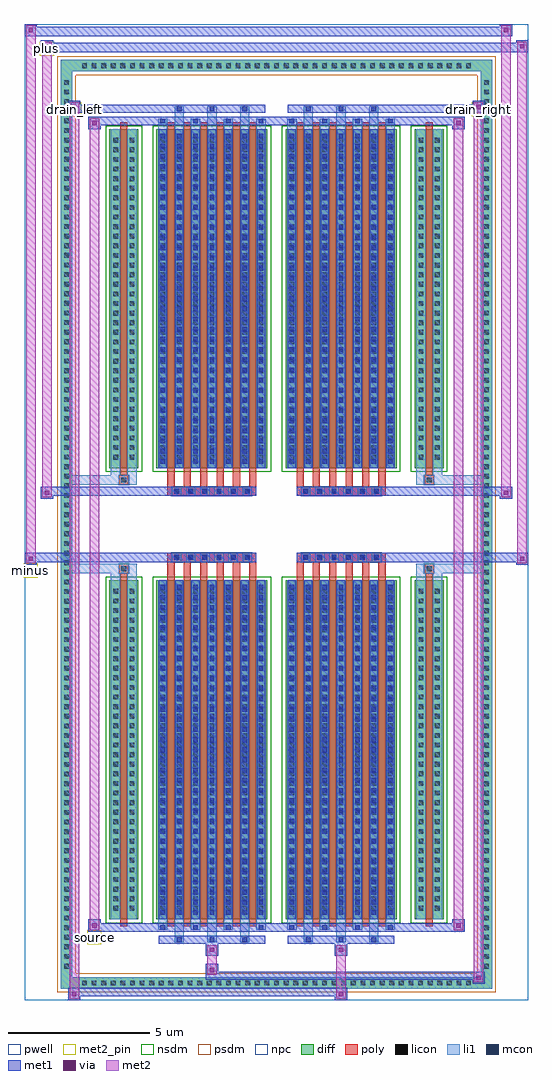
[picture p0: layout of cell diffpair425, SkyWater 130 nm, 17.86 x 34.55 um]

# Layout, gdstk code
import gdstk
lib = gdstk.Library(unit=1e-6, precision=5e-09)
def R(c, l, rs):  # rectangles x0, y0, x1, y1
    for r in rs: c.add(gdstk.rectangle(r[:2], r[2:], *l))
def A(c, l, x, y, w, h, nx, ny, dx, dy):  # array of equal rectangles
    R(c, l, [(x+i*dx, y+j*dy, x+i*dx+w, y+j*dy+h) for i in range(nx) for j in range(ny)])
def P(c, l, *ps):  # polygons
    for p in ps: c.add(gdstk.Polygon(p, *l))
pwell = (64, 44)
diff = (65, 20)
poly = (66, 20)
licon = (66, 44)
li1 = (67, 20)
mcon = (67, 44)
met1 = (68, 20)
via = (68, 44)
met2_pin = (69, 16)
met2 = (69, 20)
nsdm = (93, 44)
psdm = (94, 20)
npc = (95, 20)

diffpair425 = lib.new_cell('diffpair425')
R(diffpair425, pwell, [(-8.91,-16.84,8.91,17.71), (-6.23,-15.03,-0.01,-0.805), (0.01,-15.03,6.23,-0.805), (-6.23,0.805,-0.01,15.03), (0.01,0.805,6.23,15.03)])
A(diffpair425, diff, -7.005, -16.44, 0.41, 0.41, 41, 2, 0.34, 32.47)
A(diffpair425, diff, -7.64, -15.845, 0.41, 0.41, 1, 93, 0, 0.34)
A(diffpair425, diff, 7.23, -15.845, 0.41, 0.41, 1, 93, 0, 0.34)
R(diffpair425, diff, [(-7.005,-16.44,7.005,-16.03), (-7.64,-15.845,-7.23,15.845), (7.23,-15.845,7.64,15.845), (-5.92,-13.985,-4.89,-1.985), (-4.25,-13.985,-0.32,-1.985), (0.32,-13.985,4.25,-1.985), (4.89,-13.985,5.92,-1.985), (-5.92,1.985,-4.89,13.985), (-4.25,1.985,-0.32,13.985), (0.32,1.985,4.25,13.985), (4.89,1.985,5.92,13.985), (-7.005,16.03,7.005,16.44)])
P(diffpair425, diff, [(7.64,16.44),(-7.64,16.44),(-7.64,-16.03),(-7.23,-16.03),(-7.23,16.03),(7.23,16.03),(7.23,-16.03),(-7.23,-16.03),(-7.64,-16.03),(-7.64,-16.44),(7.64,-16.44)])
A(diffpair425, poly, -3.86, -14.235, 0.25, 12.5, 6, 2, 0.58, 15.97)
A(diffpair425, poly, 0.71, -14.235, 0.25, 12.5, 6, 2, 0.58, 15.97)
A(diffpair425, poly, -3.86, -1.735, 0.25, 0.4, 6, 2, 0.58, 3.07)
A(diffpair425, poly, 0.71, -1.735, 0.25, 0.4, 6, 2, 0.58, 3.07)
A(diffpair425, poly, -3.7, -1.335, 0.33, 0.33, 6, 2, 0.5, 2.34)
A(diffpair425, poly, 0.87, -1.335, 0.33, 0.33, 6, 2, 0.5, 2.34)
R(diffpair425, poly, [(-5.53,-14.235,-5.28,-1.735), (5.28,-14.235,5.53,-1.735), (-5.57,-1.735,-5.24,-1.405), (-5.57,-1.735,-5.24,-1.405), (5.24,-1.735,5.57,-1.405), (5.24,-1.735,5.57,-1.405), (-3.86,-1.335,-0.71,-1.005), (0.71,-1.335,3.86,-1.005), (-3.86,1.005,-0.71,1.335), (0.71,1.005,3.86,1.335), (-5.57,1.405,-5.24,1.735), (-5.57,1.405,-5.24,1.735), (5.24,1.405,5.57,1.735), (5.24,1.405,5.57,1.735), (-5.53,1.735,-5.28,14.235), (5.28,1.735,5.53,14.235)])
A(diffpair425, licon, -6.885, -16.32, 0.17, 0.17, 41, 2, 0.34, 32.47)
A(diffpair425, licon, -7.52, -15.725, 0.17, 0.17, 1, 93, 0, 0.34)
A(diffpair425, licon, 7.35, -15.725, 0.17, 0.17, 1, 93, 0, 0.34)
A(diffpair425, licon, -5.78, -13.68, 0.17, 0.17, 1, 34, 0, 0.34)
A(diffpair425, licon, -5.2, -13.68, 0.17, 0.17, 1, 34, 0, 0.34)
A(diffpair425, licon, -4.11, -13.68, 0.17, 0.17, 7, 34, 0.58, 0.34)
A(diffpair425, licon, 0.46, -13.68, 0.17, 0.17, 7, 34, 0.58, 0.34)
A(diffpair425, licon, 5.03, -13.68, 0.17, 0.17, 1, 34, 0, 0.34)
A(diffpair425, licon, 5.61, -13.68, 0.17, 0.17, 1, 34, 0, 0.34)
A(diffpair425, licon, -3.62, -1.255, 0.17, 0.17, 6, 2, 0.5, 2.34)
A(diffpair425, licon, 0.95, -1.255, 0.17, 0.17, 6, 2, 0.5, 2.34)
A(diffpair425, licon, -5.78, 2.29, 0.17, 0.17, 1, 34, 0, 0.34)
A(diffpair425, licon, -5.2, 2.29, 0.17, 0.17, 1, 34, 0, 0.34)
A(diffpair425, licon, -4.11, 2.29, 0.17, 0.17, 7, 34, 0.58, 0.34)
A(diffpair425, licon, 0.46, 2.29, 0.17, 0.17, 7, 34, 0.58, 0.34)
A(diffpair425, licon, 5.03, 2.29, 0.17, 0.17, 1, 34, 0, 0.34)
A(diffpair425, licon, 5.61, 2.29, 0.17, 0.17, 1, 34, 0, 0.34)
R(diffpair425, licon, [(-5.49,-1.655,-5.32,-1.485), (5.32,-1.655,5.49,-1.485), (-5.49,1.485,-5.32,1.655), (5.32,1.485,5.49,1.655)])
A(diffpair425, li1, -6.965, -16.4, 0.33, 0.33, 41, 2, 0.34, 32.47)
A(diffpair425, li1, -7.6, -15.805, 0.33, 0.33, 1, 93, 0, 0.34)
A(diffpair425, li1, 7.27, -15.805, 0.33, 0.33, 1, 93, 0, 0.34)
A(diffpair425, li1, -3.61, -14.79, 0.33, 0.805, 3, 2, 1.16, 28.775)
A(diffpair425, li1, -3.53, -14.79, 0.17, 0.17, 3, 2, 1.16, 29.41)
A(diffpair425, li1, 0.96, -14.79, 0.33, 0.805, 3, 2, 1.16, 28.775)
A(diffpair425, li1, 1.04, -14.79, 0.17, 0.17, 3, 2, 1.16, 29.41)
A(diffpair425, li1, -4.19, -14.36, 0.33, 0.375, 4, 2, 1.16, 28.345)
A(diffpair425, li1, -4.11, -14.36, 0.17, 0.17, 4, 2, 1.16, 28.55)
A(diffpair425, li1, 0.38, -14.36, 0.33, 0.375, 4, 2, 1.16, 28.345)
A(diffpair425, li1, 0.46, -14.36, 0.17, 0.17, 4, 2, 1.16, 28.55)
A(diffpair425, li1, -4.19, -13.985, 0.33, 12, 7, 2, 0.58, 15.97)
A(diffpair425, li1, 0.38, -13.985, 0.33, 12, 7, 2, 0.58, 15.97)
A(diffpair425, li1, -4.11, -13.83, 0.17, 0.17, 7, 33, 0.58, 0.36)
A(diffpair425, li1, -4.11, -13.83, 0.17, 11.69, 7, 2, 0.58, 15.97)
A(diffpair425, li1, 0.46, -13.83, 0.17, 0.17, 7, 33, 0.58, 0.36)
A(diffpair425, li1, 0.46, -13.83, 0.17, 11.69, 7, 2, 0.58, 15.97)
A(diffpair425, li1, -5.86, -13.76, 0.33, 0.33, 1, 34, 0, 0.34)
A(diffpair425, li1, -5.28, -13.76, 0.33, 0.33, 1, 34, 0, 0.34)
A(diffpair425, li1, -4.19, -13.76, 0.33, 0.33, 7, 34, 0.58, 0.34)
A(diffpair425, li1, 0.38, -13.76, 0.33, 0.33, 7, 34, 0.58, 0.34)
A(diffpair425, li1, 4.95, -13.76, 0.33, 0.33, 1, 34, 0, 0.34)
A(diffpair425, li1, 5.53, -13.76, 0.33, 0.33, 1, 34, 0, 0.34)
A(diffpair425, li1, -3.7, -1.335, 0.33, 0.33, 6, 2, 0.5, 2.34)
A(diffpair425, li1, 0.87, -1.335, 0.33, 0.33, 6, 2, 0.5, 2.34)
A(diffpair425, li1, -4.11, 2.14, 0.17, 0.17, 7, 33, 0.58, 0.36)
A(diffpair425, li1, 0.46, 2.14, 0.17, 0.17, 7, 33, 0.58, 0.36)
A(diffpair425, li1, -5.86, 2.21, 0.33, 0.33, 1, 34, 0, 0.34)
A(diffpair425, li1, -5.28, 2.21, 0.33, 0.33, 1, 34, 0, 0.34)
A(diffpair425, li1, -4.19, 2.21, 0.33, 0.33, 7, 34, 0.58, 0.34)
A(diffpair425, li1, 0.38, 2.21, 0.33, 0.33, 7, 34, 0.58, 0.34)
A(diffpair425, li1, 4.95, 2.21, 0.33, 0.33, 1, 34, 0, 0.34)
A(diffpair425, li1, 5.53, 2.21, 0.33, 0.33, 1, 34, 0, 0.34)
R(diffpair425, li1, [(-7.64,-16.44,-7.23,-16.03), (-7.64,-16.44,-7.23,-16.03), (-7.23,-16.44,7.23,-16.03), (7.23,-16.44,7.64,-16.03), (7.23,-16.44,7.64,-16.03), (-7.64,-16.03,-7.23,16.03), (7.23,-16.03,7.64,16.03), (-5.86,-13.985,-5.53,-1.985), (-5.28,-13.985,-4.95,-1.985), (4.95,-13.985,5.28,-1.985), (5.53,-13.985,5.86,-1.985), (-5.86,-1.985,-5.53,-1.405), (-5.28,-1.985,-4.95,-1.405), (4.95,-1.985,5.28,-1.405), (5.53,-1.985,5.86,-1.405), (-7.64,-1.735,-5.57,-1.405), (-5.86,-1.735,-5.57,-1.405), (-5.57,-1.735,-5.24,-1.405), (-5.24,-1.735,-4.95,-1.405), (4.95,-1.735,5.24,-1.405), (5.24,-1.735,5.57,-1.405), (5.24,-1.735,7.64,-1.405), (5.57,-1.735,5.86,-1.405), (-7.64,1.405,-5.57,1.735), (-5.86,1.405,-5.57,1.735), (-5.86,1.405,-5.53,1.985), (-5.57,1.405,-5.24,1.735), (-5.28,1.405,-4.95,1.985), (-5.24,1.405,-4.95,1.735), (4.95,1.405,5.24,1.735), (4.95,1.405,5.28,1.985), (5.24,1.405,5.57,1.735), (5.24,1.405,7.64,1.735), (5.53,1.405,5.86,1.985), (5.57,1.405,5.86,1.735), (-5.86,1.985,-5.53,13.985), (-5.28,1.985,-4.95,13.985), (4.95,1.985,5.28,13.985), (5.53,1.985,5.86,13.985), (-7.64,16.03,-7.23,16.44), (-7.64,16.03,-7.23,16.44), (-7.23,16.03,7.23,16.44), (7.23,16.03,7.64,16.44), (7.23,16.03,7.64,16.44)])
A(diffpair425, mcon, -3.53, -14.79, 0.17, 0.17, 3, 2, 1.16, 29.41)
A(diffpair425, mcon, 1.04, -14.79, 0.17, 0.17, 3, 2, 1.16, 29.41)
A(diffpair425, mcon, -4.11, -14.36, 0.17, 0.17, 4, 2, 1.16, 28.55)
A(diffpair425, mcon, 0.46, -14.36, 0.17, 0.17, 4, 2, 1.16, 28.55)
A(diffpair425, mcon, -4.11, -13.83, 0.17, 0.17, 7, 33, 0.58, 0.36)
A(diffpair425, mcon, 0.46, -13.83, 0.17, 0.17, 7, 33, 0.58, 0.36)
A(diffpair425, mcon, -3.62, -1.255, 0.17, 0.17, 6, 2, 0.5, 2.34)
A(diffpair425, mcon, 0.95, -1.255, 0.17, 0.17, 6, 2, 0.5, 2.34)
A(diffpair425, mcon, -4.11, 2.14, 0.17, 0.17, 7, 33, 0.58, 0.36)
A(diffpair425, mcon, 0.46, 2.14, 0.17, 0.17, 7, 33, 0.58, 0.36)
A(diffpair425, met1, -3.59, -14.85, 0.29, 0.29, 3, 2, 1.16, 29.41)
A(diffpair425, met1, 0.98, -14.85, 0.29, 0.29, 3, 2, 1.16, 29.41)
A(diffpair425, met1, -4.17, -14.42, 0.29, 0.29, 4, 2, 1.16, 28.55)
A(diffpair425, met1, 0.4, -14.42, 0.29, 0.29, 4, 2, 1.16, 28.55)
A(diffpair425, met1, -4.17, -13.985, 0.29, 12, 7, 2, 0.58, 15.97)
A(diffpair425, met1, 0.4, -13.985, 0.29, 12, 7, 2, 0.58, 15.97)
A(diffpair425, met1, -4.17, -13.89, 0.29, 0.29, 7, 33, 0.58, 0.36)
A(diffpair425, met1, 0.4, -13.89, 0.29, 0.29, 7, 33, 0.58, 0.36)
A(diffpair425, met1, -3.68, -1.315, 0.29, 0.29, 6, 2, 0.5, 2.34)
A(diffpair425, met1, 0.89, -1.315, 0.29, 0.29, 6, 2, 0.5, 2.34)
A(diffpair425, met1, -4.17, 2.08, 0.29, 0.29, 7, 33, 0.58, 0.36)
A(diffpair425, met1, 0.4, 2.08, 0.29, 0.29, 7, 33, 0.58, 0.36)
R(diffpair425, met1, [(-7.37,-16.84,-6.94,-16.41), (2.07,-16.84,2.5,-16.41), (-7.37,-16.7,2.5,-16.41), (6.94,-16.27,7.37,-15.84), (-2.5,-16.13,7.37,-15.84), (-2.5,-15.99,-2.07,-15.56), (-2.5,-15.28,-2.07,-14.85), (2.07,-15.28,2.5,-14.85), (-4.17,-14.85,-0.4,-14.56), (0.4,-14.85,4.17,-14.56), (-6.66,-14.42,-6.23,-13.99), (-6.66,-14.42,-4.17,-14.13), (-4.17,-14.42,-0.4,-14.13), (-0.4,-14.42,0.4,-14.13), (0.4,-14.42,4.17,-14.13), (4.17,-14.42,6.66,-14.13), (6.23,-14.42,6.66,-13.99), (-8.91,-1.435,-8.48,-1.005), (8.48,-1.435,8.91,-1.005), (-8.91,-1.335,-0.71,-1.005), (-3.86,-1.335,-0.71,-1.005), (0.71,-1.335,3.86,-1.005), (0.71,-1.335,8.91,-1.005), (-8.34,0.905,-7.91,1.335), (7.91,0.905,8.34,1.335), (-8.34,1.005,-3.86,1.335), (-3.86,1.005,-0.71,1.335), (0.71,1.005,3.86,1.335), (3.86,1.005,8.34,1.335), (-6.66,13.99,-6.23,14.42), (6.23,13.99,6.66,14.42), (-6.66,14.13,-4.17,14.42), (-4.17,14.13,-0.4,14.42), (-0.4,14.13,0.4,14.42), (0.4,14.13,4.17,14.42), (4.17,14.13,6.66,14.42), (-7.37,14.56,-6.94,14.99), (-7.37,14.56,-4.17,14.85), (-4.17,14.56,-0.4,14.85), (0.4,14.56,4.17,14.85), (4.17,14.56,7.37,14.85), (6.94,14.56,7.37,14.99), (-8.34,16.71,-7.91,17.14), (-8.34,16.71,-6.23,17.04), (-6.23,16.71,6.23,17.04), (6.23,16.71,8.91,17.04), (8.48,16.71,8.91,17.14), (-8.91,17.28,-8.48,17.71), (-8.91,17.28,-6.23,17.61), (-6.23,17.28,6.23,17.61), (6.23,17.28,8.34,17.61), (7.91,17.28,8.34,17.71)])
R(diffpair425, via, [(-7.23,-16.7,-7.08,-16.55), (2.21,-16.7,2.36,-16.55), (7.08,-16.13,7.23,-15.98), (-2.36,-15.85,-2.21,-15.7), (-2.36,-15.14,-2.21,-14.99), (2.21,-15.14,2.36,-14.99), (-6.52,-14.28,-6.37,-14.13), (6.37,-14.28,6.52,-14.13), (-8.77,-1.295,-8.62,-1.145), (8.62,-1.295,8.77,-1.145), (-8.2,1.045,-8.05,1.195), (8.05,1.045,8.2,1.195), (-6.52,14.13,-6.37,14.28), (6.37,14.13,6.52,14.28), (-7.23,14.7,-7.08,14.85), (7.08,14.7,7.23,14.85), (-8.2,16.85,-8.05,17), (8.62,16.85,8.77,17), (-8.77,17.42,-8.62,17.57), (8.05,17.42,8.2,17.57)])
R(diffpair425, met2_pin, [(-6.695,-14.87,-6.195,-14.37), (-8.945,-1.885,-8.445,-1.385), (-7.405,14.44,-6.905,14.94), (6.905,14.44,7.405,14.94), (-8.375,16.59,-7.875,17.09)])
R(diffpair425, met2, [(-7.32,-16.79,-6.99,-16.46), (-7.32,-16.79,-6.99,14.94), (2.12,-16.79,2.45,-16.46), (2.12,-16.46,2.45,-15.23), (6.99,-16.22,7.32,-15.89), (6.99,-16.22,7.32,14.94), (-2.45,-15.94,-2.12,-15.61), (-2.45,-15.61,-2.12,-15.23), (-2.45,-15.23,-2.12,-14.9), (2.12,-15.23,2.45,-14.9), (-6.61,-14.37,-6.28,-14.04), (-6.61,-14.37,-6.28,14.37), (6.28,-14.37,6.61,-14.04), (6.28,-14.37,6.61,14.37), (-8.86,-1.385,-8.53,-1.055), (-8.86,-1.385,-8.53,17.66), (8.53,-1.385,8.86,-1.055), (8.53,-1.385,8.86,17.09), (-8.29,0.955,-7.96,1.285), (-8.29,0.955,-7.96,17.09), (7.96,0.955,8.29,1.285), (7.96,0.955,8.29,17.66), (-6.61,14.04,-6.28,14.37), (6.28,14.04,6.61,14.37), (-7.32,14.61,-6.99,14.94), (6.99,14.61,7.32,14.94), (-8.29,16.76,-7.96,17.09), (8.53,16.76,8.86,17.09), (-8.86,17.33,-8.53,17.66), (7.96,17.33,8.29,17.66)])
P(diffpair425, met2, [(8.86,-1.385),(8.86,-1.385),(8.86,-1.055),(8.86,-1.055)],
  [(8.86,16.76),(8.86,16.76),(8.86,17.09),(8.86,17.09)],
  [(-8.53,-1.385),(-8.53,-1.385),(-8.53,-1.055),(-8.53,-1.055)],
  [(-8.53,17.33),(-8.53,17.33),(-8.53,17.66),(-8.53,17.66)],
  [(8.29,0.955),(8.29,0.955),(8.29,1.285),(8.29,1.285)],
  [(8.29,17.33),(8.29,17.33),(8.29,17.66),(8.29,17.66)],
  [(-7.96,0.955),(-7.96,0.955),(-7.96,1.285),(-7.96,1.285)],
  [(-7.96,16.76),(-7.96,16.76),(-7.96,17.09),(-7.96,17.09)],
  [(-6.99,-16.79),(-6.99,-16.79),(-6.99,-16.46),(-6.99,-16.46)],
  [(-6.99,14.61),(-6.99,14.61),(-6.99,14.94),(-6.99,14.94)],
  [(7.32,-16.22),(7.32,-16.22),(7.32,-15.89),(7.32,-15.89)],
  [(7.32,14.61),(7.32,14.61),(7.32,14.94),(7.32,14.94)],
  [(-6.28,-14.37),(-6.28,-14.37),(-6.28,-14.04),(-6.28,-14.04)],
  [(-6.28,14.04),(-6.28,14.04),(-6.28,14.37),(-6.28,14.37)],
  [(6.61,-14.37),(6.61,-14.37),(6.61,-14.04),(6.61,-14.04)],
  [(6.61,14.04),(6.61,14.04),(6.61,14.37),(6.61,14.37)])
R(diffpair425, nsdm, [(-6.05,-14.115,-4.76,-1.855), (-4.38,-14.115,-0.19,-1.855), (0.19,-14.115,4.38,-1.855), (4.76,-14.115,6.05,-1.855), (-6.05,1.855,-4.76,14.115), (-4.38,1.855,-0.19,14.115), (0.19,1.855,4.38,14.115), (4.76,1.855,6.05,14.115)])
P(diffpair425, psdm, [(7.77,16.57),(-7.77,16.57),(-7.77,-15.9),(-7.1,-15.9),(-7.1,15.9),(7.1,15.9),(7.1,-15.9),(-7.1,-15.9),(-7.77,-15.9),(-7.77,-16.57),(7.77,-16.57)])
A(diffpair425, npc, -3.72, -1.355, 0.37, 0.37, 6, 2, 0.5, 2.34)
A(diffpair425, npc, 0.85, -1.355, 0.37, 0.37, 6, 2, 0.5, 2.34)
R(diffpair425, npc, [(-5.59,-1.755,-5.22,-1.385), (5.22,-1.755,5.59,-1.385), (-3.72,-1.355,-2.85,-0.985), (-3.72,-1.355,-2.85,-0.985), (-3.22,-1.355,-2.35,-0.985), (-3.22,-1.355,-2.35,-0.985), (-2.72,-1.355,-1.85,-0.985), (-2.72,-1.355,-1.85,-0.985), (-2.22,-1.355,-1.35,-0.985), (-2.22,-1.355,-1.35,-0.985), (-1.72,-1.355,-0.85,-0.985), (-1.72,-1.355,-0.85,-0.985), (0.85,-1.355,1.72,-0.985), (0.85,-1.355,1.72,-0.985), (1.35,-1.355,2.22,-0.985), (1.35,-1.355,2.22,-0.985), (1.85,-1.355,2.72,-0.985), (1.85,-1.355,2.72,-0.985), (2.35,-1.355,3.22,-0.985), (2.35,-1.355,3.22,-0.985), (2.85,-1.355,3.72,-0.985), (2.85,-1.355,3.72,-0.985), (-3.72,0.985,-2.85,1.355), (-3.72,0.985,-2.85,1.355), (-3.22,0.985,-2.35,1.355), (-3.22,0.985,-2.35,1.355), (-2.72,0.985,-1.85,1.355), (-2.72,0.985,-1.85,1.355), (-2.22,0.985,-1.35,1.355), (-2.22,0.985,-1.35,1.355), (-1.72,0.985,-0.85,1.355), (-1.72,0.985,-0.85,1.355), (0.85,0.985,1.72,1.355), (0.85,0.985,1.72,1.355), (1.35,0.985,2.22,1.355), (1.35,0.985,2.22,1.355), (1.85,0.985,2.72,1.355), (1.85,0.985,2.72,1.355), (2.35,0.985,3.22,1.355), (2.35,0.985,3.22,1.355), (2.85,0.985,3.72,1.355), (2.85,0.985,3.72,1.355), (-5.59,1.385,-5.22,1.755), (5.22,1.385,5.59,1.755)])
diffpair425.add(gdstk.Label('minus', (-8.695,-1.635), layer=69, texttype=5))
diffpair425.add(gdstk.Label('drain_right', (7.155,14.69), layer=69, texttype=5))
diffpair425.add(gdstk.Label('drain_left', (-7.155,14.69), layer=69, texttype=5))
diffpair425.add(gdstk.Label('source', (-6.445,-14.62), layer=69, texttype=5))
diffpair425.add(gdstk.Label('plus', (-8.125,16.84), layer=69, texttype=5))

lib.write_gds('diffpair425.gds')
